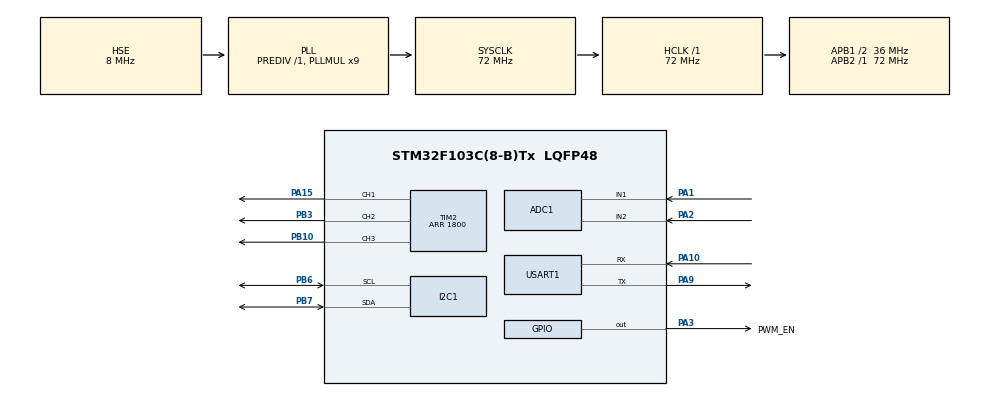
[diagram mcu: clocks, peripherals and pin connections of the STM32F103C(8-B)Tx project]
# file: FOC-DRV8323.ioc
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ADC1.Channel-0\#ChannelRegularConversion=ADC_CHANNEL_1
ADC1.Channel-1\#ChannelRegularConversion=ADC_CHANNEL_2
ADC1.ContinuousConvMode=ENABLE
ADC1.NbrOfConversion=2
ADC1.NbrOfConversionFlag=1
ADC1.Rank-0\#ChannelRegularConversion=1
ADC1.Rank-1\#ChannelRegularConversion=2
ADC1.SamplingTime-0\#ChannelRegularConversion=ADC_SAMPLETIME_1CYCLE_5
ADC1.SamplingTime-1\#ChannelRegularConversion=ADC_SAMPLETIME_1CYCLE_5
ADC1.master=1
Dma.ADC1.0.Direction=DMA_PERIPH_TO_MEMORY
Dma.ADC1.0.Instance=DMA1_Channel1
Dma.ADC1.0.MemDataAlignment=DMA_MDATAALIGN_WORD
Dma.ADC1.0.MemInc=DMA_MINC_ENABLE
Dma.ADC1.0.Mode=DMA_NORMAL
Dma.ADC1.0.PeriphDataAlignment=DMA_PDATAALIGN_WORD
Dma.ADC1.0.PeriphInc=DMA_PINC_DISABLE
Dma.ADC1.0.Priority=DMA_PRIORITY_LOW
Dma.Request0=ADC1
Mcu.Family=STM32F1
Mcu.Name=STM32F103C(8-B)Tx
Mcu.Package=LQFP48
NVIC.DMA1_Channel1_IRQn=true\:0\:0\:false\:false\:true\:false\:true\:true
NVIC.PriorityGroup=NVIC_PRIORITYGROUP_4
NVIC.TIM3_IRQn=true\:0\:0\:false\:false\:true\:true\:true\:true
PA1.Signal=ADCx_IN1
PA10.Mode=Asynchronous
PA10.Signal=USART1_RX
PA13.Mode=Serial_Wire
PA13.Signal=SYS_JTMS-SWDIO
PA14.Mode=Serial_Wire
PA14.Signal=SYS_JTCK-SWCLK
PA15.Signal=S_TIM2_CH1_ETR
PA2.Signal=ADCx_IN2
PA3.GPIO_Label=PWM_EN
PA3.GPIO_PuPd=GPIO_PULLDOWN
PA3.Signal=GPIO_Output
PA9.Mode=Asynchronous
PA9.Signal=USART1_TX
PB10.Signal=S_TIM2_CH3
PB3.Signal=S_TIM2_CH2
PB6.Mode=I2C
PB6.Signal=I2C1_SCL
PB7.Mode=I2C
PB7.Signal=I2C1_SDA
PD0-OSC_IN.Mode=HSE-External-Oscillator
PD0-OSC_IN.Signal=RCC_OSC_IN
PD1-OSC_OUT.Mode=HSE-External-Oscillator
PD1-OSC_OUT.Signal=RCC_OSC_OUT
ProjectManager.HeapSize=0x200
ProjectManager.StackSize=0x400
ProjectManager.TargetToolchain=STM32CubeIDE
RCC.ADCPresc=RCC_ADCPCLK2_DIV6
RCC.AHBFreq_Value=72000000
RCC.APB1CLKDivider=RCC_HCLK_DIV2
RCC.APB1Freq_Value=36000000
RCC.APB1TimFreq_Value=72000000
RCC.APB2Freq_Value=72000000
RCC.APB2TimFreq_Value=72000000
RCC.HCLKFreq_Value=72000000
RCC.PLLMUL=RCC_PLL_MUL9
RCC.PLLSourceVirtual=RCC_PLLSOURCE_HSE
RCC.SYSCLKFreq_VALUE=72000000
RCC.SYSCLKSource=RCC_SYSCLKSOURCE_PLLCLK
RCC.USBFreq_Value=72000000
SH.ADCx_IN1.0=ADC1_IN1,IN1
SH.ADCx_IN2.0=ADC1_IN2,IN2
SH.S_TIM2_CH1_ETR.0=TIM2_CH1,PWM Generation1 CH1
SH.S_TIM2_CH2.0=TIM2_CH2,PWM Generation2 CH2
SH.S_TIM2_CH3.0=TIM2_CH3,PWM Generation3 CH3
TIM2.Channel-PWM\ Generation1\ CH1=TIM_CHANNEL_1
TIM2.Channel-PWM\ Generation2\ CH2=TIM_CHANNEL_2
TIM2.Channel-PWM\ Generation3\ CH3=TIM_CHANNEL_3
TIM2.Channel-PWM\ Generation4\ No\ Output=TIM_CHANNEL_4
TIM2.CounterMode=TIM_COUNTERMODE_CENTERALIGNED2
TIM2.Period=1800
TIM3.AutoReloadPreload=TIM_AUTORELOAD_PRELOAD_ENABLE
TIM3.Period=1000-1
TIM3.Prescaler=72-1
USART1.VirtualMode=VM_ASYNC
VP_TIM2_VS_ClockSourceINT.Mode=Internal
VP_TIM2_VS_no_output4.Mode=PWM Generation4 No Output
VP_TIM3_VS_ClockSourceINT.Mode=Internal
board=custom

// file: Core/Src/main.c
/* USER CODE BEGIN Header */
/**
  ******************************************************************************
  * @file           : main.c
  * @brief          : Main program body
  ******************************************************************************
  * @attention
  *
  * Copyright (c) 2024 STMicroelectronics.
  * All rights reserved.
  *
  * This software is licensed under terms that can be found in the LICENSE file
  * in the root directory of this software component.
  * If no LICENSE file comes with this software, it is provided AS-IS.
  *
  ******************************************************************************
  */
/* USER CODE END Header */
#include "main.h"
#include "adc.h"
#include "dma.h"
#include "i2c.h"
#include "tim.h"
#include "usart.h"
#include "gpio.h"

/* USER CODE BEGIN Includes */
#include "stdio.h"
#include "AS5600.h"
#include "foc_ctrl.h"
#include "drv8323.h"

/* USER CODE END Includes */

void SystemClock_Config(void);

/* USER CODE BEGIN 0 */
int __io_putchar(int ch) {
    HAL_UART_Transmit(&huart1, (uint8_t *) &ch, 1, 10);
    return ch;
}
/* USER CODE END 0 */

int main(void)
{

  /* MCU Configuration--------------------------------------------------------*/

  /* Reset of all peripherals, Initializes the Flash interface and the Systick. */
  HAL_Init();

  /* Configure the system clock */
  SystemClock_Config();

  /* Initialize all configured peripherals */
  MX_GPIO_Init();
  MX_DMA_Init();
  MX_ADC1_Init();
  MX_I2C1_Init();
  MX_TIM2_Init();
  MX_TIM3_Init();
  MX_USART1_UART_Init();
  /* USER CODE BEGIN 2 */
    uint32_t ADC_Value[2] = {2048, 2048};
    float ADC_Real[2];
    float Machine_Angle = 0;

    DRV8323_Init();

    HAL_TIM_PWM_Start(&htim2, TIM_CHANNEL_1);
    HAL_TIM_PWM_Start(&htim2, TIM_CHANNEL_2);
    HAL_TIM_PWM_Start(&htim2, TIM_CHANNEL_3);

    __HAL_TIM_SET_COMPARE(&htim2, TIM_CHANNEL_1, 900);
    __HAL_TIM_SET_COMPARE(&htim2, TIM_CHANNEL_2, 000);
    __HAL_TIM_SET_COMPARE(&htim2, TIM_CHANNEL_3, 000);

    HAL_Delay(200);

    float ZeroPoint_Angle = 0;

    for (int i = 0; i < 100; i++) {
        ZeroPoint_Angle += (1.0f * as5600GetRawAngle() / 4096);
    }
    ZeroPoint_Angle /= 100;
    ZeroPoint_Angle *= (2 * PI);

    FOC_Init(&Motor_2208, 7, ZeroPoint_Angle, 9.0);

    HAL_Delay(100);

    HAL_TIM_Base_Start_IT(&htim3);

  /* USER CODE END 2 */

  /* Infinite loop */
  /* USER CODE BEGIN WHILE */
    while (1) {
//        HAL_ADC_Start_DMA(&hadc1, (uint32_t *) ADC_Value, 2);
//        ADC_Real[0] = 3.3f * ADC_Value[0] / 4096 - 1.58f;
//        ADC_Real[1] = 3.3f * ADC_Value[1] / 4096 - 1.58f;
//        ADC_Real[0] = ADC_Real[0] / 0.5 / 50;
//        ADC_Real[1] = ADC_Real[1] / 0.5 / 50;

//        FOC_Run(&Motor_2208);

//    printf("%.2f\n", 180 / PI * Motor_2208.machine_angle);

//        printf("%f, %f\n", ADC_Real[0], ADC_Real[1]);

//        HAL_ADC_Stop_DMA(&hadc1);

//        Machine_Angle = 360.0f * as5600GetRawAngle() / 4096 - ZeroPoint_Angle;
//        if (Machine_Angle < 0)Machine_Angle+=360;
//        printf("%.2f, %.2f\n", ZeroPoint_Angle, Machine_Angle);

//        HAL_Delay(1);
    /* USER CODE END WHILE */

    }
}

void SystemClock_Config(void)
{
  RCC_OscInitTypeDef RCC_OscInitStruct = {0};
  RCC_ClkInitTypeDef RCC_ClkInitStruct = {0};
  RCC_PeriphCLKInitTypeDef PeriphClkInit = {0};

  /** Initializes the RCC Oscillators according to the specified parameters
  * in the RCC_OscInitTypeDef structure.
  */
  RCC_OscInitStruct.OscillatorType = RCC_OSCILLATORTYPE_HSE;
  RCC_OscInitStruct.HSEState = RCC_HSE_ON;
  RCC_OscInitStruct.HSEPredivValue = RCC_HSE_PREDIV_DIV1;
  RCC_OscInitStruct.HSIState = RCC_HSI_ON;
  RCC_OscInitStruct.PLL.PLLState = RCC_PLL_ON;
  RCC_OscInitStruct.PLL.PLLSource = RCC_PLLSOURCE_HSE;
  RCC_OscInitStruct.PLL.PLLMUL = RCC_PLL_MUL9;
  if (HAL_RCC_OscConfig(&RCC_OscInitStruct) != HAL_OK)
  {
    Error_Handler();
  }

  /** Initializes the CPU, AHB and APB buses clocks
  */
  RCC_ClkInitStruct.ClockType = RCC_CLOCKTYPE_HCLK|RCC_CLOCKTYPE_SYSCLK
                              |RCC_CLOCKTYPE_PCLK1|RCC_CLOCKTYPE_PCLK2;
  RCC_ClkInitStruct.SYSCLKSource = RCC_SYSCLKSOURCE_PLLCLK;
  RCC_ClkInitStruct.AHBCLKDivider = RCC_SYSCLK_DIV1;
  RCC_ClkInitStruct.APB1CLKDivider = RCC_HCLK_DIV2;
  RCC_ClkInitStruct.APB2CLKDivider = RCC_HCLK_DIV1;

  if (HAL_RCC_ClockConfig(&RCC_ClkInitStruct, FLASH_LATENCY_2) != HAL_OK)
  {
    Error_Handler();
  }
  PeriphClkInit.PeriphClockSelection = RCC_PERIPHCLK_ADC;
  PeriphClkInit.AdcClockSelection = RCC_ADCPCLK2_DIV6;
  if (HAL_RCCEx_PeriphCLKConfig(&PeriphClkInit) != HAL_OK)
  {
    Error_Handler();
  }
}

void Error_Handler(void)
{
    __disable_irq();
    while (1) {
    }
}
